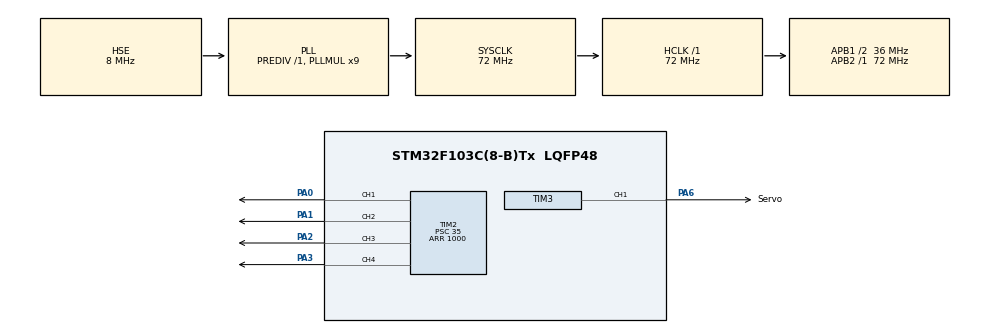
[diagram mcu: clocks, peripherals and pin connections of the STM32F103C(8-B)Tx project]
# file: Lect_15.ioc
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Mcu.Family=STM32F1
Mcu.Name=STM32F103C(8-B)Tx
Mcu.Package=LQFP48
NVIC.PriorityGroup=NVIC_PRIORITYGROUP_4
PA0-WKUP.Signal=S_TIM2_CH1_ETR
PA1.Signal=S_TIM2_CH2
PA13.Mode=Serial_Wire
PA13.Signal=SYS_JTMS-SWDIO
PA14.Mode=Serial_Wire
PA14.Signal=SYS_JTCK-SWCLK
PA2.Signal=S_TIM2_CH3
PA3.Signal=S_TIM2_CH4
PA6.GPIO_Label=Servo
PA6.Signal=S_TIM3_CH1
PD0-OSC_IN.Mode=HSE-External-Oscillator
PD0-OSC_IN.Signal=RCC_OSC_IN
PD1-OSC_OUT.Mode=HSE-External-Oscillator
PD1-OSC_OUT.Signal=RCC_OSC_OUT
ProjectManager.HeapSize=0x200
ProjectManager.StackSize=0x400
ProjectManager.TargetToolchain=STM32CubeIDE
RCC.AHBFreq_Value=72000000
RCC.APB1CLKDivider=RCC_HCLK_DIV2
RCC.APB1Freq_Value=36000000
RCC.APB1TimFreq_Value=72000000
RCC.APB2Freq_Value=72000000
RCC.APB2TimFreq_Value=72000000
RCC.HCLKFreq_Value=72000000
RCC.PLLMUL=RCC_PLL_MUL9
RCC.PLLSourceVirtual=RCC_PLLSOURCE_HSE
RCC.SYSCLKFreq_VALUE=72000000
RCC.SYSCLKSource=RCC_SYSCLKSOURCE_PLLCLK
RCC.USBFreq_Value=72000000
SH.S_TIM2_CH1_ETR.0=TIM2_CH1,PWM Generation1 CH1
SH.S_TIM2_CH2.0=TIM2_CH2,PWM Generation2 CH2
SH.S_TIM2_CH3.0=TIM2_CH3,PWM Generation3 CH3
SH.S_TIM2_CH4.0=TIM2_CH4,PWM Generation4 CH4
SH.S_TIM3_CH1.0=TIM3_CH1,PWM Generation1 CH1
TIM2.Channel-PWM\ Generation1\ CH1=TIM_CHANNEL_1
TIM2.Channel-PWM\ Generation2\ CH2=TIM_CHANNEL_2
TIM2.Channel-PWM\ Generation3\ CH3=TIM_CHANNEL_3
TIM2.Channel-PWM\ Generation4\ CH4=TIM_CHANNEL_4
TIM2.Period=1000
TIM2.Prescaler=35
TIM3.Channel-PWM\ Generation1\ CH1=TIM_CHANNEL_1
TIM3.Period=23000
TIM3.Prescaler=71
VP_TIM2_VS_ClockSourceINT.Mode=Internal
VP_TIM3_VS_ClockSourceINT.Mode=Internal
board=custom

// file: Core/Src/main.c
/* USER CODE BEGIN Header */
/**
 ******************************************************************************
 * @file           : main.c
 * @brief          : Main program body
 ******************************************************************************
 * @attention
 *
 * Copyright (c) 2024 STMicroelectronics.
 * All rights reserved.
 *
 * This software is licensed under terms that can be found in the LICENSE file
 * in the root directory of this software component.
 * If no LICENSE file comes with this software, it is provided AS-IS.
 *
 ******************************************************************************
 */
/* USER CODE END Header */
#include "main.h"

TIM_HandleTypeDef htim2;
TIM_HandleTypeDef htim3;

void SystemClock_Config(void);
static void MX_GPIO_Init(void);
static void MX_TIM2_Init(void);
static void MX_TIM3_Init(void);

/* USER CODE BEGIN 0 */

/// TODO: to implement the definitions of these functions
void Motor1_Drive(uint8_t Dir, uint16_t Power);
void Motor2_Drive(uint8_t Dir, uint16_t Power);

/// TODO: to implement the definition of this function
void Servo_Set_Angle(float Angle);
/* USER CODE END 0 */

int main(void) {

	/* MCU Configuration--------------------------------------------------------*/

	/* Reset of all peripherals, Initializes the Flash interface and the Systick. */
	HAL_Init();

	/* Configure the system clock */
	SystemClock_Config();

	/* Initialize all configured peripherals */
	MX_GPIO_Init();
	MX_TIM2_Init();
	MX_TIM3_Init();
	/* USER CODE BEGIN 2 */

	//start the motor PWM timer
	HAL_TIM_Base_Start(&htim2);
	HAL_TIM_OC_Start(&htim2, TIM_CHANNEL_ALL);

	HAL_TIM_Base_Start(&htim3);
	HAL_TIM_OC_Start(&htim3, TIM_CHANNEL_1);
	Servo_Set_Angle(0);

	//to change the dusy cycle
	//method 1
	htim2.Instance->CCR1 = 0; //for channel 1
	htim2.Instance->CCR2 = 0; //for channel 2
	htim2.Instance->CCR3 = 0; //for channel 3
	htim2.Instance->CCR4 = 0; //for channel 4

	__HAL_TIM_SET_COMPARE(&htim2, TIM_CHANNEL_1, 0);
	/* USER CODE END 2 */

	/* Infinite loop */
	/* USER CODE BEGIN WHILE */
	float Angle = -90;
	uint32_t DutyCycle = 0;
	while (1) {
		/* USER CODE END WHILE */

		/* USER CODE BEGIN 3 */
		Angle++;
		if (Angle >= 90) {
			Angle = -90;
		}

		__HAL_TIM_SET_COMPARE(&htim2, TIM_CHANNEL_1, DutyCycle);
		//__HAL_TIM_SET_COMPARE(&htim2, TIM_CHANNEL_2, 1000 - DutyCycle);

		__HAL_TIM_SET_COMPARE(&htim2, TIM_CHANNEL_3, 1000 - DutyCycle);
		//__HAL_TIM_SET_COMPARE(&htim2, TIM_CHANNEL_4, 1000 - DutyCycle);

		DutyCycle++;
		if (DutyCycle > 1000) {
			DutyCycle = 0;
		}
		HAL_Delay(100);
	}
	/* USER CODE END 3 */
}

void SystemClock_Config(void) {
	RCC_OscInitTypeDef RCC_OscInitStruct = { 0 };
	RCC_ClkInitTypeDef RCC_ClkInitStruct = { 0 };

	/** Initializes the RCC Oscillators according to the specified parameters
	 * in the RCC_OscInitTypeDef structure.
	 */
	RCC_OscInitStruct.OscillatorType = RCC_OSCILLATORTYPE_HSE;
	RCC_OscInitStruct.HSEState = RCC_HSE_ON;
	RCC_OscInitStruct.HSEPredivValue = RCC_HSE_PREDIV_DIV1;
	RCC_OscInitStruct.HSIState = RCC_HSI_ON;
	RCC_OscInitStruct.PLL.PLLState = RCC_PLL_ON;
	RCC_OscInitStruct.PLL.PLLSource = RCC_PLLSOURCE_HSE;
	RCC_OscInitStruct.PLL.PLLMUL = RCC_PLL_MUL9;
	if (HAL_RCC_OscConfig(&RCC_OscInitStruct) != HAL_OK) {
		Error_Handler();
	}

	/** Initializes the CPU, AHB and APB buses clocks
	 */
	RCC_ClkInitStruct.ClockType = RCC_CLOCKTYPE_HCLK | RCC_CLOCKTYPE_SYSCLK
			| RCC_CLOCKTYPE_PCLK1 | RCC_CLOCKTYPE_PCLK2;
	RCC_ClkInitStruct.SYSCLKSource = RCC_SYSCLKSOURCE_PLLCLK;
	RCC_ClkInitStruct.AHBCLKDivider = RCC_SYSCLK_DIV1;
	RCC_ClkInitStruct.APB1CLKDivider = RCC_HCLK_DIV2;
	RCC_ClkInitStruct.APB2CLKDivider = RCC_HCLK_DIV1;

	if (HAL_RCC_ClockConfig(&RCC_ClkInitStruct, FLASH_LATENCY_2) != HAL_OK) {
		Error_Handler();
	}
}

static void MX_TIM2_Init(void) {

	TIM_ClockConfigTypeDef sClockSourceConfig = { 0 };
	TIM_MasterConfigTypeDef sMasterConfig = { 0 };
	TIM_OC_InitTypeDef sConfigOC = { 0 };

	htim2.Instance = TIM2;
	htim2.Init.Prescaler = 35;
	htim2.Init.CounterMode = TIM_COUNTERMODE_UP;
	htim2.Init.Period = 1000;
	htim2.Init.ClockDivision = TIM_CLOCKDIVISION_DIV1;
	htim2.Init.AutoReloadPreload = TIM_AUTORELOAD_PRELOAD_DISABLE;
	if (HAL_TIM_Base_Init(&htim2) != HAL_OK) {
		Error_Handler();
	}
	sClockSourceConfig.ClockSource = TIM_CLOCKSOURCE_INTERNAL;
	if (HAL_TIM_ConfigClockSource(&htim2, &sClockSourceConfig) != HAL_OK) {
		Error_Handler();
	}
	if (HAL_TIM_PWM_Init(&htim2) != HAL_OK) {
		Error_Handler();
	}
	sMasterConfig.MasterOutputTrigger = TIM_TRGO_RESET;
	sMasterConfig.MasterSlaveMode = TIM_MASTERSLAVEMODE_DISABLE;
	if (HAL_TIMEx_MasterConfigSynchronization(&htim2, &sMasterConfig)
			!= HAL_OK) {
		Error_Handler();
	}
	sConfigOC.OCMode = TIM_OCMODE_PWM1;
	sConfigOC.Pulse = 0;
	sConfigOC.OCPolarity = TIM_OCPOLARITY_HIGH;
	sConfigOC.OCFastMode = TIM_OCFAST_DISABLE;
	if (HAL_TIM_PWM_ConfigChannel(&htim2, &sConfigOC, TIM_CHANNEL_1)
			!= HAL_OK) {
		Error_Handler();
	}
	if (HAL_TIM_PWM_ConfigChannel(&htim2, &sConfigOC, TIM_CHANNEL_2)
			!= HAL_OK) {
		Error_Handler();
	}
	if (HAL_TIM_PWM_ConfigChannel(&htim2, &sConfigOC, TIM_CHANNEL_3)
			!= HAL_OK) {
		Error_Handler();
	}
	if (HAL_TIM_PWM_ConfigChannel(&htim2, &sConfigOC, TIM_CHANNEL_4)
			!= HAL_OK) {
		Error_Handler();
	}
	HAL_TIM_MspPostInit(&htim2);

}

static void MX_TIM3_Init(void) {

	TIM_ClockConfigTypeDef sClockSourceConfig = { 0 };
	TIM_MasterConfigTypeDef sMasterConfig = { 0 };
	TIM_OC_InitTypeDef sConfigOC = { 0 };

	htim3.Instance = TIM3;
	htim3.Init.Prescaler = 71;
	htim3.Init.CounterMode = TIM_COUNTERMODE_UP;
	htim3.Init.Period = 23000;
	htim3.Init.ClockDivision = TIM_CLOCKDIVISION_DIV1;
	htim3.Init.AutoReloadPreload = TIM_AUTORELOAD_PRELOAD_DISABLE;
	if (HAL_TIM_Base_Init(&htim3) != HAL_OK) {
		Error_Handler();
	}
	sClockSourceConfig.ClockSource = TIM_CLOCKSOURCE_INTERNAL;
	if (HAL_TIM_ConfigClockSource(&htim3, &sClockSourceConfig) != HAL_OK) {
		Error_Handler();
	}
	if (HAL_TIM_PWM_Init(&htim3) != HAL_OK) {
		Error_Handler();
	}
	sMasterConfig.MasterOutputTrigger = TIM_TRGO_RESET;
	sMasterConfig.MasterSlaveMode = TIM_MASTERSLAVEMODE_DISABLE;
	if (HAL_TIMEx_MasterConfigSynchronization(&htim3, &sMasterConfig)
			!= HAL_OK) {
		Error_Handler();
	}
	sConfigOC.OCMode = TIM_OCMODE_PWM1;
	sConfigOC.Pulse = 0;
	sConfigOC.OCPolarity = TIM_OCPOLARITY_HIGH;
	sConfigOC.OCFastMode = TIM_OCFAST_DISABLE;
	if (HAL_TIM_PWM_ConfigChannel(&htim3, &sConfigOC, TIM_CHANNEL_1)
			!= HAL_OK) {
		Error_Handler();
	}
	HAL_TIM_MspPostInit(&htim3);

}

static void MX_GPIO_Init(void) {

	/* GPIO Ports Clock Enable */
	__HAL_RCC_GPIOD_CLK_ENABLE();
	__HAL_RCC_GPIOA_CLK_ENABLE();

}

/* USER CODE BEGIN 4 */

/// @fn void Servo_Set_Angle(float)
/// @brief
///
/// @param Angle varies between -90 to 90 deg
void Servo_Set_Angle(float Angle) {
	//we need to map the values of the angle from -90 to +90
	//to become 500 to 3000
	float Output_Pulse = (Angle * 11.11) + 1500;

	htim3.Instance->CCR1 = (uint32_t) Output_Pulse;
}
/* USER CODE END 4 */

void Error_Handler(void) {
	__disable_irq();
	while (1) {
	}
}
